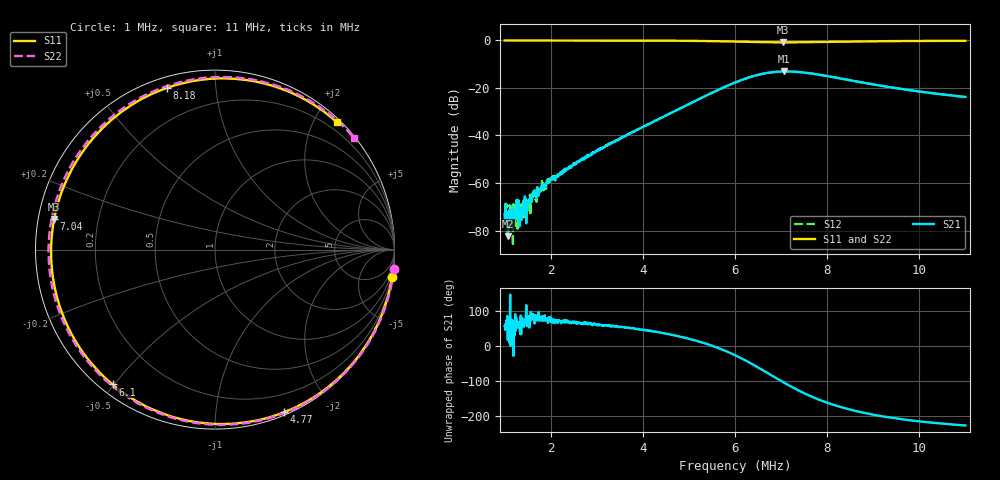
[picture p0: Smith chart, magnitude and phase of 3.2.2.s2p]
# MHz S DB R 50
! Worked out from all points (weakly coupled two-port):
!   1001 points, 1 MHz to 11 MHz, reference 50 ohm
!   highest |S21| = -13.03 dB at 7.06 MHz (marker M1); lowest = -82.4 dB at 1.07 MHz (marker M2)
!   lowest |S11| = -0.8 dB at 7.04 MHz (marker M3), VSWR 21.66, Z = 2.33 + j4.71 ohm
!   |S11| at or under -10 dB: nowhere
!   |S22| runs from -0.7 to 0.0 dB; largest |S21 - S12| = 0.00078
!   S11 on the Smith chart (normalised r, x): 1 MHz: 0, -13; 4.77 MHz: 0.03, -1.51; 6.1 MHz: 0.04, -0.50; 7.04 MHz: 0.05, +0.09; 8.18 MHz: 0.05, +0.75; 11 MHz: 0.06, +2.34
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1  -0.01 -8.7  -73.03 57.8  -75.69 97.5  0.03 -6.3
1.07  -0.01 -9.3  -82.38 18.0  -73.48 79.8  0.03 -6.8
1.16  -0.01 -10.2  -69.69 47.0  -72.69 48.7  0.02 -7.4
1.23  -0.01 -10.8  -72.89 91.7  -71.90 15.3  0.02 -7.9
1.34  -0.03 -11.7  -75.86 34.7  -72.38 78.2  0.02 -8.4
1.37  -0.01 -12.1  -75.34 81.9  -68.92 77.5  0.02 -8.8
1.66  -0.02 -14.9  -65.54 74.7  -63.51 83.1  0.02 -10.9
1.96  -0.02 -18.0  -58.93 82.8  -58.88 75.2  0.02 -13.2
2.67  -0.04 -26.1  -49.94 64.9  -50.12 64.0  0.00 -19.3
4.34  -0.09 -55.3  -33.13 40.3  -33.14 40.1  -0.01 -42.4
4.77  -0.14 -67.1  -29.03 28.7  -28.96 29.2  -0.04 -52.4
5.41  -0.26 -90.7  -22.89 5.6  -22.90 5.9  -0.13 -74.0
6  -0.46 -121.2  -17.72 -25.4  -17.71 -25.2  -0.30 -105.7
6.1  -0.50 -127.2  -16.96 -31.8  -16.95 -31.6  -0.35 -112.5
6.63  -0.73 -162.5  -13.91 -70.4  -13.91 -70.2  -0.59 -155.9
7.04  -0.80 169.2  -13.05 -102.2  -13.05 -102.0  -0.66 166.9
7.06  -0.80 167.9  -13.03 -103.7  -13.03 -103.6  -0.66 165.1
7.37  -0.77 147.9  -13.26 -125.8  -13.26 -125.6  -0.61 139.6
7.67  -0.69 130.6  -13.94 -144.4  -13.94 -144.2  -0.52 118.9
8.18  -0.54 106.5  -15.61 -169.3  -15.62 -169.1  -0.36 92.5
9.34  -0.29 71.4  -19.60 156.7  -19.59 156.9  -0.15 59.4
11  -0.15 46.2  -23.75 133.6  -23.76 133.7  -0.06 38.7
